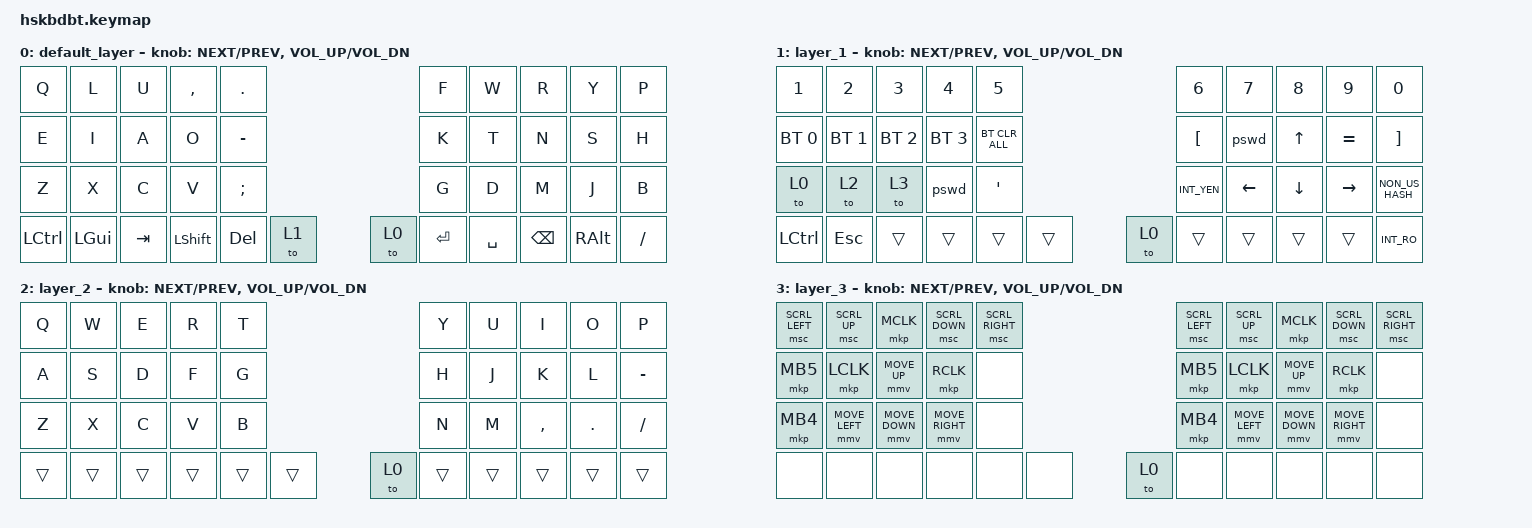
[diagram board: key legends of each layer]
// This file was generated from a template. Edit it to match your keyboard.
// See https://zmk.dev/docs/development/hardware-integration/new-shield for more instructions.

#include <behaviors.dtsi>
#include <dt-bindings/zmk/keys.h>
#include <dt-bindings/zmk/bt.h>
#include <dt-bindings/zmk/ext_power.h>
// mouse.h は削除 ↓
#include <dt-bindings/zmk/pointing.h>

#define ZMK_POINTING_DEFAULT_MOVE_VAL 500
#define ZMK_POINTING_DEFAULT_SCRL_VAL 10

/ {
    // Define a default keymap here.
    // See https://zmk.dev/docs/development/hardware-integration/new-shield#default-keymap.

    combos {
        compatible = "zmk,combos";

        jp {
            bindings = <&kp LANGUAGE_1>;
            key-positions = <12 13>;
        };

        en {
            bindings = <&kp LANGUAGE_2>;
            key-positions = <16 17>;
        };

        TABGUI {
            bindings = <&kp LG(TAB)>;
            key-positions = <16 17 18>;
        };

        LINE_SEND {
            bindings = <&kp RA(ENTER)>;
            key-positions = <37 25>;
        };
        ZENHAN {
            bindings = <&kp LANG_ZENKAKUHANKAKU>;
            key-positions = <11 12 13>;
        };
        TW_POST {
            bindings = <&kp RC(ENTER)>;
            key-positions = <37 26>;
        };
    };

    macros {
        pswd: pswd {
            compatible = "zmk,behavior-macro";
            #binding-cells = <0>;
            bindings = <&kp N0 &kp N8 &kp N2 &kp N5>;
            label = "PSWD";
        };
    };

    keymap {
        compatible = "zmk,keymap";

        // Sensor order follows `sensor-bindings = <&left_encoder &right_encoder>` in dtsi.


        default_layer {
            bindings = <
&kp Q           &kp L     &kp U    &kp COMMA  &kp DOT                    &kp F      &kp W      &kp R     &kp Y     &kp P
&kp E           &kp I     &kp A    &kp O      &kp MINUS                  &kp K      &kp T      &kp N     &kp S     &kp H
&kp Z           &kp X     &kp C    &kp V      &kp SEMICOLON              &kp G      &kp D      &kp M     &kp J     &kp B
&kp LCTRL       &kp LGUI  &kp TAB    &kp LSHFT  &kp DEL    &to 1  &to 0  &kp ENTER  &kp SPACE  &kp BSPC  &kp RALT  &kp SLASH
>;

            sensor-bindings =
                <&inc_dec_kp C_NEXT C_PREV>,
                <&inc_dec_kp C_VOL_UP C_VOL_DN>;
        };

        layer_1 {
            bindings = <
&kp N1        &kp N2        &kp N3        &kp N4         &kp N5                         &kp N6       &kp N7    &kp N8    &kp N9     &kp N0
&bt BT_SEL 0  &bt BT_SEL 1  &bt BT_SEL 2  &bt BT_SEL 3   &bt BT_CLR_ALL                 &kp LBKT       &pswd     &kp UP    &kp EQUAL  &kp RBKT
&to 0         &to 2         &to 3         &pswd          &kp SINGLE_QUOTE               &kp INT_YEN  &kp LEFT  &kp DOWN  &kp RIGHT  &kp NON_US_HASH
&kp LCTRL     &kp ESC      &trans       &trans         &trans          &trans  &to 0  &trans       &trans    &trans    &trans     &kp INT_RO
            >;

            sensor-bindings =
                <&inc_dec_kp C_NEXT C_PREV>,
                <&inc_dec_kp C_VOL_UP C_VOL_DN>;
        };

        layer_2 {
            bindings = <
&kp Q   &kp W   &kp E   &kp R   &kp T                  &kp Y   &kp U   &kp I      &kp O    &kp P
&kp A   &kp S   &kp D   &kp F   &kp G                  &kp H   &kp J   &kp K      &kp L    &kp MINUS
&kp Z   &kp X   &kp C   &kp V   &kp B                  &kp N   &kp M   &kp COMMA  &kp DOT  &kp FSLH
&trans  &trans  &trans   &trans  &trans  &trans  &to 0  &trans  &trans  &trans     &trans   &trans
            >;

            sensor-bindings =
                <&inc_dec_kp C_NEXT C_PREV>,
                <&inc_dec_kp C_VOL_UP C_VOL_DN>;
        };

        layer_3 {
            bindings = <
&msc SCRL_LEFT  &msc SCRL_UP    &mkp MCLK       &msc SCRL_DOWN   &msc SCRL_RIGHT                &msc SCRL_LEFT  &msc SCRL_UP    &mkp MCLK       &msc SCRL_DOWN   &msc SCRL_RIGHT
&mkp MB5        &mkp LCLK       &mmv MOVE_UP    &mkp RCLK        &none                          &mkp MB5        &mkp LCLK       &mmv MOVE_UP    &mkp RCLK        &none
&mkp MB4        &mmv MOVE_LEFT  &mmv MOVE_DOWN  &mmv MOVE_RIGHT  &none                          &mkp MB4        &mmv MOVE_LEFT  &mmv MOVE_DOWN  &mmv MOVE_RIGHT  &none
&none           &none           &none           &none            &none           &none  &to 0   &none           &none           &none           &none            &none
            >;
            sensor-bindings =
                <&inc_dec_kp C_NEXT C_PREV>,
                <&inc_dec_kp C_VOL_UP C_VOL_DN>;
        };
    };
};
